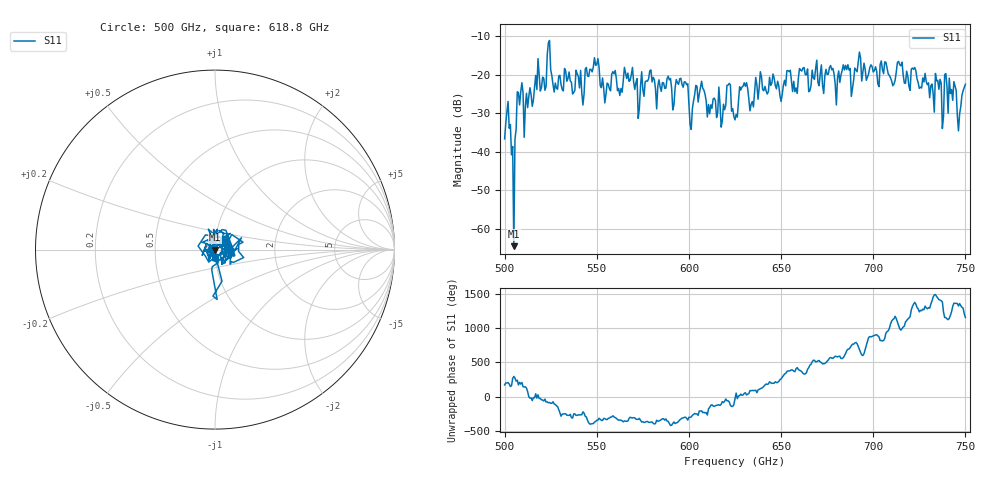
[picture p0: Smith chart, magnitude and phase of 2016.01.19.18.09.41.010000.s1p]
!Created with skrf (http://scikit-rf.org).
# GHz S RI R 50.0
!freq ReS11 ImS11
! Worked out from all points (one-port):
!   401 points, 500 GHz to 750 GHz, reference 50 ohm
!   lowest |S11| = -64.6 dB at 505 GHz (marker M1), VSWR 1.00, Z = 50 - j0.0542 ohm
!   |S11| at or under -10 dB: start of sweep to end of sweep
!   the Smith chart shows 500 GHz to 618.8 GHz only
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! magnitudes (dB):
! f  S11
! 500 GHz  -36.7
! 501.9 GHz  -27.0
! 505 GHz  -64.6
! 508.1 GHz  -27.9
! 511.9 GHz  -24.9
! 524.4 GHz  -11.1
! 527.5 GHz  -22.2
! 531.2 GHz  -23.9
! 541.9 GHz  -24.7
! 550 GHz  -17.4
! 553.8 GHz  -23.5
! 559.4 GHz  -19.8
! 562.5 GHz  -25.4
! 593.8 GHz  -22.1
! 601.2 GHz  -34.3
! 606.9 GHz  -21.7
! 618.8 GHz  -27.7
! 621.2 GHz  -22.7
! 625 GHz  -31.8
! 630 GHz  -22.1
! 633.8 GHz  -27.7
! 656.2 GHz  -24.4
! 687.5 GHz  -18.4
! 714.4 GHz  -17.4
! 718.8 GHz  -20.4
! 740 GHz  -23.0
! 746.9 GHz  -30.1
! 750 GHz  -22.5
